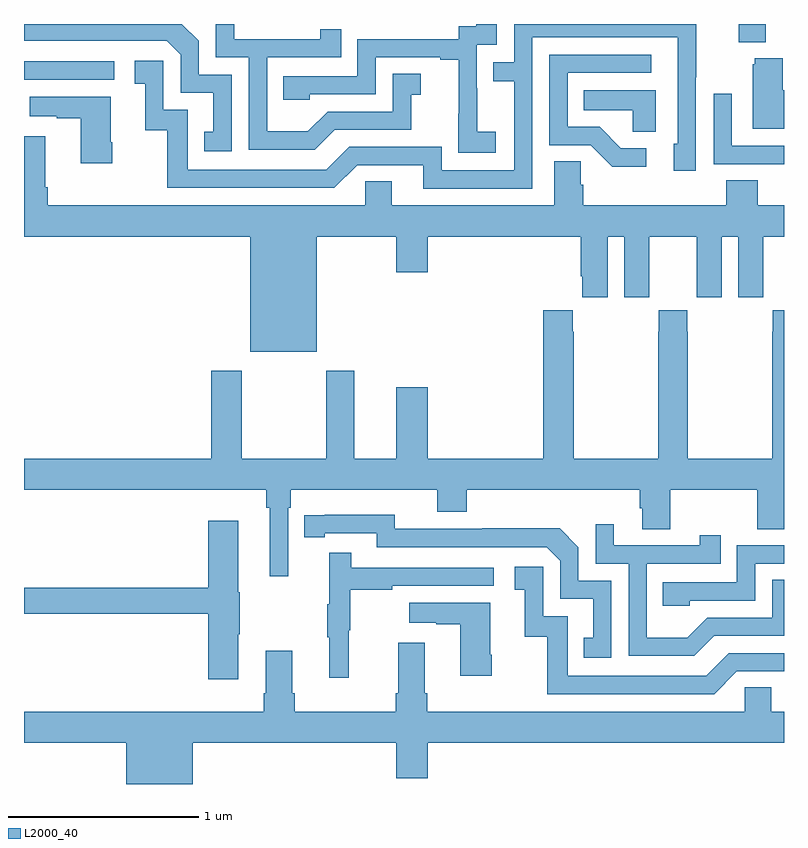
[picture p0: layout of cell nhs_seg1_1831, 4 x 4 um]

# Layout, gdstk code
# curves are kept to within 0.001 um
import gdstk
lib = gdstk.Library(unit=1e-6, precision=1e-09)
def R(c, l, rs):  # rectangles x0, y0, x1, y1
    for r in rs: c.add(gdstk.rectangle(r[:2], r[2:], *l))
def P(c, l, *ps):  # polygons
    for p in ps: c.add(gdstk.Polygon(p, *l))
L2000_40 = (2000, 40)

nhs_seg1_1831 = lib.new_cell('nhs_seg1_1831')
R(nhs_seg1_1831, L2000_40, [(211,537.906,211.474,538.002), (214.763,538.103,214.903,538.199)])
P(nhs_seg1_1831, L2000_40, [(212.635,537.642),(213.039,537.642),(213.039,537.827),(213.088,537.827),(213.088,537.937),(212.94,537.937),(212.94,537.738),(212.598,537.738),(212.494,537.634),(212.28,537.634),(212.28,538.023),(212.669,538.023),(212.669,538.171),(212.558,538.171),(212.558,538.119),(212.107,538.119),(212.107,538.199),(212.01,538.199),(212.01,538.023),(212.184,538.023),(212.184,537.537),(212.53,537.537)],
  [(212.094,537.933),(211.92,537.933),(211.92,538.11),(211.831,538.199),(211,538.199),(211,538.11),(211.752,538.11),(211.824,538.038),(211.824,537.837),(211.997,537.837),(211.997,537.633),(211.948,537.633),(211.948,537.528),(212.094,537.528)],
  [(213.675,538.128),(214.44,538.128),(214.44,537.57),(214.421,537.57),(214.421,537.426),(214.536,537.426),(214.536,537.919),(214.539,537.919),(214.539,538.199),(213.579,538.199),(213.579,537.999),(213.469,537.999),(213.469,537.898),(213.579,537.898),(213.579,537.429),(213.198,537.429),(213.198,537.552),(212.712,537.552),(212.592,537.432),(211.863,537.432),(211.863,537.747),(211.734,537.747),(211.734,538.006),(211.584,538.006),(211.584,537.885),(211.637,537.885),(211.637,537.639),(211.755,537.639),(211.755,537.336),(212.634,537.336),(212.754,537.456),(213.101,537.456),(213.101,537.333),(213.675,537.333)],
  [(213.484,537.631),(213.386,537.631),(213.386,537.86),(213.384,537.86),(213.384,538.089),(213.489,538.089),(213.489,538.199),(213.381,538.199),(213.381,538.188),(213.288,538.188),(213.288,538.119),(212.754,538.119),(212.754,537.924),(212.365,537.924),(212.365,537.801),(212.505,537.801),(212.505,537.828),(212.85,537.828),(212.85,538.023),(213.191,538.023),(213.191,538.011),(213.287,538.011),(213.287,537.727),(213.286,537.727),(213.286,537.521),(213.484,537.521)],
  [(214.276,537.546),(214.141,537.546),(214.03,537.657),(213.861,537.657),(213.861,537.942),(214.3,537.942),(214.3,538.038),(213.765,538.038),(213.765,537.561),(213.984,537.561),(214.097,537.449),(214.276,537.449)],
  [(215,537.85),(214.993,537.85),(214.993,538.018),(214.847,538.018),(214.847,537.987),(214.835,537.987),(214.835,537.647),(215,537.647)],
  [(214.324,537.85),(213.946,537.85),(213.946,537.746),(214.203,537.746),(214.203,537.631),(214.324,537.631)],
  [(215,537.558),(214.725,537.558),(214.725,537.832),(214.629,537.832),(214.629,537.462),(214.945,537.462),(214.945,537.461),(215,537.461)],
  [(211.464,537.577),(211.456,537.577),(211.456,537.817),(211.029,537.817),(211.029,537.713),(211.172,537.713),(211.172,537.703),(211.298,537.703),(211.298,537.465),(211.464,537.465)],
  [(212.542,537.08),(212.96,537.08),(212.96,536.892),(213.124,536.892),(213.124,537.08),(213.929,537.08),(213.929,536.872),(213.938,536.872),(213.938,536.76),(214.072,536.76),(214.072,537.08),(214.16,537.08),(214.16,536.76),(214.29,536.76),(214.29,536.872),(214.291,536.872),(214.291,537.08),(214.541,537.08),(214.541,536.872),(214.542,536.872),(214.542,536.76),(214.672,536.76),(214.672,537.08),(214.76,537.08),(214.76,536.76),(214.89,536.76),(214.89,536.872),(214.891,536.872),(214.891,537.08),(215,537.08),(215,537.244),(214.862,537.244),(214.862,537.377),(214.697,537.377),(214.697,537.244),(213.944,537.244),(213.944,537.353),(213.93,537.353),(213.93,537.476),(213.791,537.476),(213.791,537.244),(212.935,537.244),(212.935,537.371),(212.796,537.371),(212.796,537.244),(211.124,537.244),(211.124,537.34),(211.111,537.34),(211.111,537.607),(211,537.607),(211,537.08),(212.192,537.08),(212.192,536.474),(212.542,536.474)],
  [(212.391,535.652),(212.405,535.652),(212.405,535.748),(213.176,535.748),(213.176,535.631),(213.329,535.631),(213.329,535.748),(214.241,535.748),(214.241,535.65),(214.253,535.65),(214.253,535.54),(214.401,535.54),(214.401,535.748),(214.858,535.748),(214.858,535.54),(215,535.54),(215,536.692),(214.941,536.692),(214.941,536.579),(214.939,536.579),(214.939,535.912),(214.494,535.912),(214.494,536.579),(214.491,536.579),(214.491,536.692),(214.341,536.692),(214.341,536.579),(214.339,536.579),(214.339,535.912),(213.894,535.912),(213.894,536.579),(213.887,536.579),(213.887,536.692),(213.734,536.692),(213.734,535.912),(213.124,535.912),(213.124,536.287),(212.96,536.287),(212.96,535.912),(212.737,535.912),(212.737,536.374),(212.59,536.374),(212.59,535.912),(212.145,535.912),(212.145,536.374),(211.985,536.374),(211.985,535.912),(211,535.912),(211,535.748),(212.275,535.748),(212.275,535.652),(212.294,535.652),(212.294,535.293),(212.391,535.293)],
  [(214.092,535.269),(213.918,535.269),(213.918,535.446),(213.82,535.544),(213.412,535.544),(213.412,535.542),(212.952,535.542),(212.952,535.615),(212.476,535.614),(212.476,535.498),(212.584,535.498),(212.584,535.518),(212.856,535.518),(212.856,535.446),(213.75,535.446),(213.822,535.374),(213.822,535.173),(213.995,535.173),(213.995,534.969),(213.946,534.969),(213.946,534.864),(214.092,534.864)],
  [(212.128,534.988),(212.136,534.988),(212.136,535.209),(212.128,535.209),(212.128,535.585),(211.97,535.585),(211.97,535.232),(211,535.232),(211,535.096),(211.97,535.096),(211.97,534.75),(212.128,534.75)],
  [(214.633,534.978),(215,534.978),(215,535.273),(214.938,535.273),(214.938,535.074),(214.596,535.074),(214.492,534.97),(214.278,534.97),(214.278,535.359),(214.667,535.359),(214.667,535.507),(214.556,535.507),(214.556,535.455),(214.105,535.455),(214.105,535.567),(214.008,535.567),(214.008,535.359),(214.182,535.359),(214.182,534.873),(214.528,534.873)],
  [(214.503,535.164),(214.848,535.164),(214.848,535.359),(215,535.359),(215,535.455),(214.752,535.455),(214.752,535.26),(214.363,535.26),(214.363,535.137),(214.503,535.137)],
  [(212.708,535.008),(212.716,535.008),(212.716,535.222),(212.939,535.222),(212.939,535.242),(213.472,535.242),(213.472,535.338),(212.723,535.338),(212.723,535.417),(212.606,535.417),(212.606,535.145),(212.595,535.145),(212.595,534.971),(212.606,534.971),(212.606,534.759),(212.708,534.759)],
  [(214.752,534.792),(215,534.792),(215,534.888),(214.71,534.888),(214.59,534.768),(213.861,534.768),(213.861,535.083),(213.732,535.083),(213.732,535.342),(213.582,535.342),(213.582,535.221),(213.635,535.221),(213.635,534.975),(213.753,534.975),(213.753,534.672),(214.632,534.672)],
  [(213.462,534.88),(213.454,534.88),(213.454,535.153),(213.027,535.153),(213.027,535.049),(213.17,535.049),(213.17,535.039),(213.296,535.039),(213.296,534.768),(213.462,534.768)],
  [(211.888,534.416),(212.96,534.416),(212.96,534.228),(213.124,534.228),(213.124,534.416),(215,534.416),(215,534.58),(214.933,534.58),(214.933,534.707),(214.794,534.707),(214.794,534.58),(213.122,534.58),(213.122,534.676),(213.109,534.676),(213.109,534.943),(212.969,534.943),(212.969,534.676),(212.957,534.676),(212.957,534.58),(212.426,534.58),(212.426,534.676),(212.413,534.676),(212.413,534.901),(212.273,534.901),(212.273,534.676),(212.261,534.676),(212.261,534.58),(211,534.58),(211,534.416),(211.538,534.416),(211.538,534.199),(211.888,534.199)])

lib.write_gds('nhs_seg1_1831.gds')
